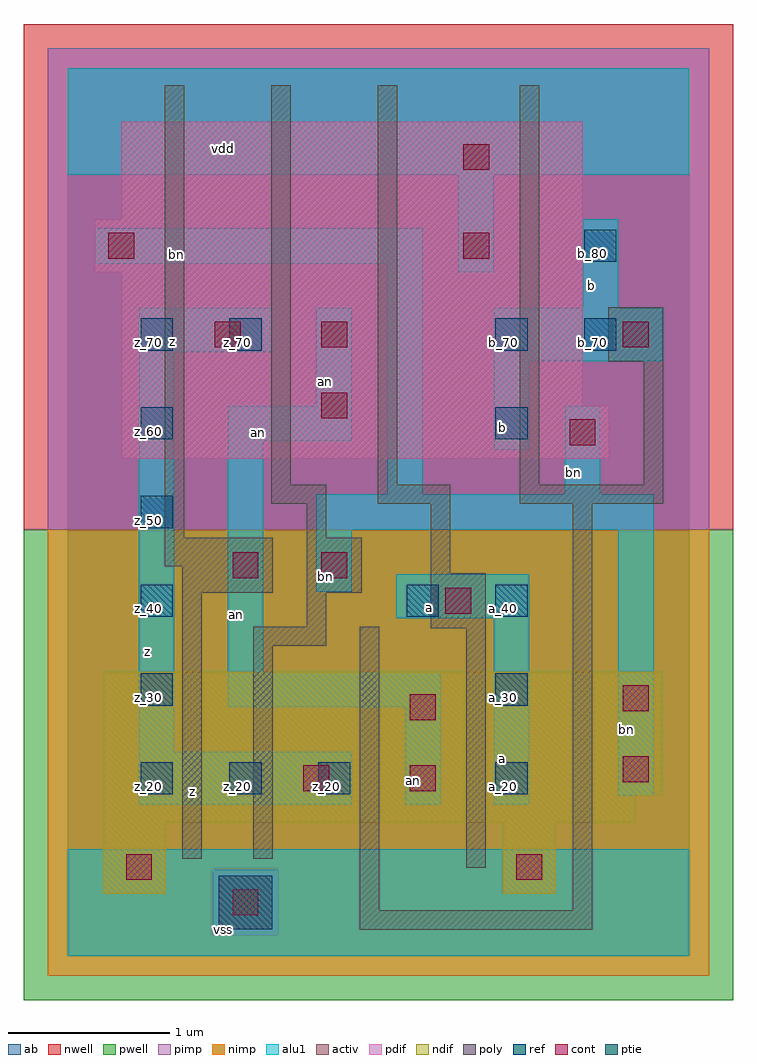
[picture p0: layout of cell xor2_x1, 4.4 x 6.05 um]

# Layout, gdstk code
import gdstk
lib = gdstk.Library(unit=1e-6, precision=2.5e-09)
def R(c, l, rs):  # rectangles x0, y0, x1, y1
    for r in rs: c.add(gdstk.rectangle(r[:2], r[2:], *l))
def A(c, l, x, y, w, h, nx, ny, dx, dy):  # array of equal rectangles
    R(c, l, [(x+i*dx, y+j*dy, x+i*dx+w, y+j*dy+h) for i in range(nx) for j in range(ny)])
ndif = (3, 0)
pdif = (4, 0)
ptie = (6, 0)
ref = (24, 0)
cont = (25, 0)
pwell = (41, 0)
nwell = (42, 0)
activ = (43, 0)
pimp = (44, 0)
nimp = (45, 0)
poly = (46, 0)
alu1 = (49, 0)
ab = (63, 0)

xor2_x1 = lib.new_cell('xor2_x1')
R(xor2_x1, ndif, [(0.22,0.385,0.605,0.825), (2.695,0.385,3.025,0.825), (0.22,0.825,3.52,0.99), (0.22,0.99,3.685,1.76)])
R(xor2_x1, pdif, [(0.33,3.08,3.355,3.41), (0.33,3.41,3.19,4.235), (0.165,4.235,3.19,4.565), (0.33,4.565,3.19,5.17)])
R(xor2_x1, ptie, [(0.935,0.165,1.265,0.495)])
A(xor2_x1, ref, 0.45, 1, 0.2, 0.2, 3, 1, 0.55, 0)
A(xor2_x1, ref, 2.65, 1, 0.2, 0.2, 1, 3, 0, 0.55)
A(xor2_x1, ref, 0.45, 1.55, 0.2, 0.2, 1, 5, 0, 0.55)
R(xor2_x1, ref, [(2.1,2.1,2.3,2.3), (2.65,3.2,2.85,3.4), (1,3.75,1.2,3.95), (2.65,3.75,2.85,3.95), (3.2,3.75,3.4,3.95), (3.2,4.3,3.4,4.5)])
R(xor2_x1, cont, [(1.02,0.25,1.18,0.41), (0.36,0.47,0.52,0.63), (2.78,0.47,2.94,0.63), (1.46,1.02,1.62,1.18), (2.12,1.02,2.28,1.18), (3.44,1.075,3.6,1.235), (2.12,1.46,2.28,1.62), (3.44,1.515,3.6,1.675), (2.34,2.12,2.5,2.28), (1.02,2.34,1.18,2.5), (1.57,2.34,1.73,2.5), (3.11,3.165,3.27,3.325), (1.57,3.33,1.73,3.49), (0.91,3.77,1.07,3.93), (1.57,3.77,1.73,3.93), (3.44,3.77,3.6,3.93), (0.25,4.32,0.41,4.48), (2.45,4.32,2.61,4.48), (2.45,4.87,2.61,5.03)])
R(xor2_x1, pwell, [(-0.275,-0.275,4.125,2.64)])
R(xor2_x1, nwell, [(-0.275,2.64,4.125,5.775)])
R(xor2_x1, activ, [(0.935,0.165,1.265,0.495), (0.22,0.385,0.605,0.825), (2.695,0.385,3.025,0.825), (0.22,0.825,3.52,0.99), (0.22,0.99,3.685,1.76), (0.33,3.08,3.355,3.41), (0.33,3.41,3.19,4.235), (0.165,4.235,3.19,4.565), (0.33,4.565,3.19,5.17)])
R(xor2_x1, pimp, [(0.895,0.125,1.305,0.535), (-0.125,2.64,3.975,5.625)])
R(xor2_x1, nimp, [(-0.125,-0.125,3.975,0.125), (-0.125,0.125,0.895,0.535), (1.305,0.125,3.975,0.535), (-0.125,0.535,3.975,2.64)])
R(xor2_x1, poly, [(1.81,0.16,3.25,0.28), (1.81,0.28,1.93,2.04), (3.13,0.28,3.25,2.8), (2.47,0.545,2.59,2.03), (0.71,0.6,0.83,2.25), (1.15,0.6,1.27,1.92), (1.15,1.92,1.6,2.04), (2.25,2.03,2.59,2.37), (1.48,2.04,1.6,2.25), (0.71,2.25,1.27,2.415), (1.48,2.25,1.82,2.59), (2.25,2.37,2.37,2.8), (0.6,2.415,1.27,2.59), (0.6,2.59,0.72,5.395), (1.48,2.59,1.6,2.8), (1.26,2.8,1.6,2.92), (1.92,2.8,2.37,2.92), (2.8,2.8,3.69,2.92), (1.26,2.92,1.38,5.395), (1.92,2.92,2.04,5.395), (2.8,2.92,2.92,5.395), (3.57,2.92,3.69,3.68), (3.35,3.68,3.69,4.02)])
R(xor2_x1, alu1, [(0,0,3.85,0.66), (0.44,0.935,1.76,1.265), (2.09,0.935,2.31,1.54), (2.64,0.935,2.86,2.09), (3.41,0.99,3.63,2.64), (0.44,1.265,0.66,3.74), (0.99,1.54,2.31,1.76), (0.99,1.76,1.21,3.19), (2.035,2.09,2.86,2.365), (1.54,2.255,1.76,2.64), (1.54,2.64,3.63,2.86), (1.98,2.86,2.2,4.29), (3.08,2.86,3.3,3.41), (2.64,3.135,2.86,3.685), (0.99,3.19,1.76,3.41), (1.54,3.41,1.76,4.015), (2.64,3.685,3.685,4.015), (0.44,3.74,1.265,4.015), (3.19,4.015,3.41,4.565), (2.42,4.235,2.64,4.84), (0.165,4.29,2.2,4.51), (0,4.84,3.85,5.5)])
R(xor2_x1, ab, [(0,0,3.85,5.5)])
xor2_x1.add(gdstk.Label('vss', (0.9625,0.165), layer=49, texttype=0))
xor2_x1.add(gdstk.Label('bn', (3.465,1.4025), layer=49, texttype=0))
xor2_x1.add(gdstk.Label('a', (2.695,1.2225), layer=49, texttype=0))
xor2_x1.add(gdstk.Label('an', (2.145,1.085), layer=49, texttype=0))
xor2_x1.add(gdstk.Label('z', (0.77,1.0175), layer=49, texttype=0))
xor2_x1.add(gdstk.Label('a', (2.24,2.1575), layer=49, texttype=0))
xor2_x1.add(gdstk.Label('bn', (1.595,2.35), layer=49, texttype=0))
xor2_x1.add(gdstk.Label('bn', (3.135,2.9975), layer=49, texttype=0))
xor2_x1.add(gdstk.Label('b', (2.695,3.2725), layer=49, texttype=0))
xor2_x1.add(gdstk.Label('b', (3.245,4.1525), layer=49, texttype=0))
xor2_x1.add(gdstk.Label('an', (1.045,2.1175), layer=49, texttype=0))
xor2_x1.add(gdstk.Label('an', (1.1825,3.245), layer=49, texttype=0))
xor2_x1.add(gdstk.Label('an', (1.595,3.56), layer=49, texttype=0))
xor2_x1.add(gdstk.Label('z', (0.495,1.8825), layer=49, texttype=0))
xor2_x1.add(gdstk.Label('z', (0.645,3.8075), layer=49, texttype=0))
xor2_x1.add(gdstk.Label('bn', (0.6725,4.345), layer=49, texttype=0))
xor2_x1.add(gdstk.Label('vdd', (0.9625,5.005), layer=49, texttype=0))
xor2_x1.add(gdstk.Label('b_70', (3.25,3.8), layer=24, texttype=0))
xor2_x1.add(gdstk.Label('b_80', (3.25,4.35), layer=24, texttype=0))
xor2_x1.add(gdstk.Label('z_20', (1.6,1.05), layer=24, texttype=0))
xor2_x1.add(gdstk.Label('a_40', (2.15,2.15), layer=24, texttype=0))
xor2_x1.add(gdstk.Label('b_70', (2.7,3.8), layer=24, texttype=0))
xor2_x1.add(gdstk.Label('z_20', (1.05,1.05), layer=24, texttype=0))
xor2_x1.add(gdstk.Label('z_20', (0.5,1.05), layer=24, texttype=0))
xor2_x1.add(gdstk.Label('z_70', (1.05,3.8), layer=24, texttype=0))
xor2_x1.add(gdstk.Label('z_70', (0.5,3.8), layer=24, texttype=0))
xor2_x1.add(gdstk.Label('z_30', (0.5,1.6), layer=24, texttype=0))
xor2_x1.add(gdstk.Label('z_40', (0.5,2.15), layer=24, texttype=0))
xor2_x1.add(gdstk.Label('z_50', (0.5,2.7), layer=24, texttype=0))
xor2_x1.add(gdstk.Label('z_60', (0.5,3.25), layer=24, texttype=0))
xor2_x1.add(gdstk.Label('a_30', (2.7,1.6), layer=24, texttype=0))
xor2_x1.add(gdstk.Label('a_40', (2.7,2.15), layer=24, texttype=0))
xor2_x1.add(gdstk.Label('b_60', (2.7,3.25), layer=24, texttype=0))
xor2_x1.add(gdstk.Label('a_20', (2.7,1.05), layer=24, texttype=0))

lib.write_gds('xor2_x1.gds')
